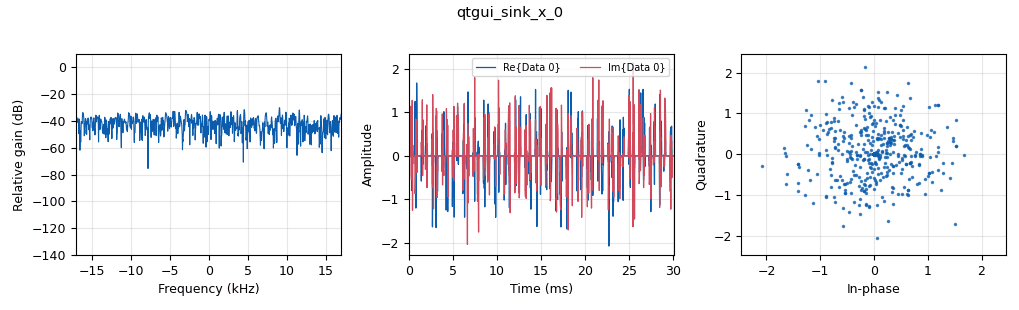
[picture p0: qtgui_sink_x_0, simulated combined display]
options:
  parameters:
    generate_options: qt_gui
    id: gfreq
    output_language: python
    title: Not titled yet
  states: {}

blocks:
- name: freq
  id: variable
  parameters:
    value: int(99e6)
  states: {}
- name: samp_rate
  id: variable
  parameters:
    value: 34e3
  states: {}
- name: tx_freq
  id: variable
  parameters:
    value: 435.5e6
  states: {}
- name: analog_const_source_x_0
  id: analog_const_source_x
  parameters:
    const: '0'
    type: float
  states: {}
- name: analog_fastnoise_source_x_0
  id: analog_fastnoise_source_x
  parameters:
    amp: '1'
    noise_type: analog.GR_GAUSSIAN
    samples: '8192'
    seed: '0'
    type: complex
  states: {}
- name: analog_sig_source_x_0
  id: analog_sig_source_x
  parameters:
    amp: '10'
    freq: freq
    offset: '0'
    phase: '0'
    samp_rate: samp_rate
    type: complex
    waveform: analog.GR_COS_WAVE
  states: {state: disabled}
- name: blocks_float_to_complex_0
  id: blocks_float_to_complex
  parameters: {}
  states: {}
- name: blocks_multiply_xx_0
  id: blocks_multiply_xx
  parameters:
    type: complex
  states: {}
- name: blocks_repeat_0
  id: blocks_repeat
  parameters:
    interp: '8'
    type: float
  states: {}
- name: blocks_transcendental_0
  id: blocks_transcendental
  parameters:
    name: sin
    type: float
  states: {state: disabled}
- name: blocks_vector_source_x_0
  id: blocks_vector_source_x
  parameters:
    repeat: 'True'
    type: float
    vector: (1,0,0,1,0)
  states: {}
- name: channels_phase_noise_gen_0
  id: channels_phase_noise_gen
  parameters:
    alpha: '0.1'
    noise_mag: '0'
  states: {}
- name: freq_xlating_fir_filter_xxx_0
  id: freq_xlating_fir_filter_xxx
  parameters:
    center_freq: freq
    decim: '1'
    samp_rate: samp_rate
    taps: '8'
    type: ccc
  states: {state: disabled}
- name: osmosdr_sink_0
  id: osmosdr_sink
  parameters:
    bb_gain0: '62'
    freq0: freq
    gain0: '14'
    if_gain0: '47'
    sample_rate: samp_rate
    sync: sync
    type: fc32
  states: {}
- name: qtgui_sink_x_0
  id: qtgui_sink_x
  parameters:
    bw: samp_rate
    fc: '0'
    fftsize: '1024'
    type: complex
  states: {}
- name: single_pole_iir_filter_xx_0
  id: single_pole_iir_filter_xx
  parameters:
    alpha: '1.0'
    type: float
  states: {state: disabled}

connections:
- [analog_const_source_x_0, '0', blocks_float_to_complex_0, '1']
- [analog_fastnoise_source_x_0, '0', blocks_multiply_xx_0, '1']
- [analog_fastnoise_source_x_0, '0', blocks_transcendental_0, '0']
- [analog_fastnoise_source_x_0, '0', freq_xlating_fir_filter_xxx_0, '0']
- [analog_fastnoise_source_x_0, '0', single_pole_iir_filter_xx_0, '0']
- [analog_sig_source_x_0, '0', blocks_multiply_xx_0, '1']
- [blocks_float_to_complex_0, '0', blocks_multiply_xx_0, '0']
- [blocks_multiply_xx_0, '0', channels_phase_noise_gen_0, '0']
- [blocks_repeat_0, '0', blocks_float_to_complex_0, '0']
- [blocks_vector_source_x_0, '0', blocks_repeat_0, '0']
- [channels_phase_noise_gen_0, '0', osmosdr_sink_0, '0']
- [channels_phase_noise_gen_0, '0', qtgui_sink_x_0, '0']
- [freq_xlating_fir_filter_xxx_0, '0', blocks_multiply_xx_0, '1']

metadata:
  file_format: 1
  grc_version: 3.10.5.0
